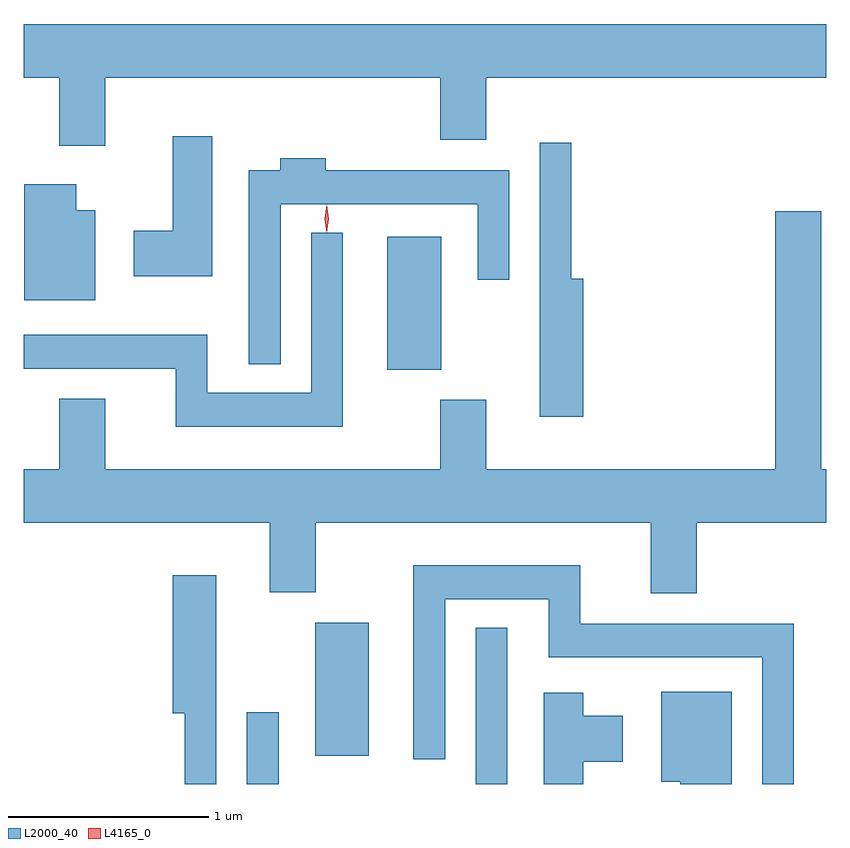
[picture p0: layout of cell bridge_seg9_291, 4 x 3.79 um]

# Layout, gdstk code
import gdstk
lib = gdstk.Library(unit=1e-6, precision=1e-09)
def R(c, l, rs):  # rectangles x0, y0, x1, y1
    for r in rs: c.add(gdstk.rectangle(r[:2], r[2:], *l))
def P(c, l, *ps):  # polygons
    for p in ps: c.add(gdstk.Polygon(p, *l))
L2000_40 = (2000, 40)
L4165_0 = (4165, 0)

bridge_seg9_291 = lib.new_cell('bridge_seg9_291')
R(bridge_seg9_291, L2000_40, [(1017.826,2072.654,1017.984,2073.012), (1018.966,2072.654,1019.124,2073.433), (1018.166,2072.796,1018.434,2073.459), (1018.526,2074.721,1018.794,2075.384)])
P(bridge_seg9_291, L2000_40, [(1017.119,2076.176),(1018.791,2076.176),(1018.791,2075.866),(1019.019,2075.866),(1019.019,2076.176),(1020.714,2076.176),(1020.714,2076.444),(1016.714,2076.444),(1016.714,2076.176),(1016.891,2076.176),(1016.891,2075.836),(1017.119,2075.836)],
  [(1017.654,2075.884),(1017.456,2075.884),(1017.456,2075.414),(1017.261,2075.414),(1017.261,2075.186),(1017.654,2075.186)],
  [(1019.504,2075.174),(1019.444,2075.174),(1019.444,2075.853),(1019.286,2075.853),(1019.286,2074.486),(1019.504,2074.486)],
  [(1017.994,2075.546),(1018.976,2075.546),(1018.976,2075.168),(1019.134,2075.168),(1019.134,2075.714),(1018.219,2075.714),(1018.219,2075.774),(1017.991,2075.774),(1017.991,2075.714),(1017.836,2075.714),(1017.836,2074.748),(1017.994,2074.748)],
  [(1017.069,2075.514),(1016.974,2075.514),(1016.974,2075.644),(1016.716,2075.644),(1016.716,2075.066),(1017.069,2075.066)],
  [(1020.069,2073.956),(1020.714,2073.956),(1020.714,2074.224),(1020.689,2074.224),(1020.689,2075.509),(1020.461,2075.509),(1020.461,2074.224),(1019.019,2074.224),(1019.019,2074.569),(1018.791,2074.569),(1018.791,2074.224),(1017.119,2074.224),(1017.119,2074.574),(1016.891,2074.574),(1016.891,2074.224),(1016.714,2074.224),(1016.714,2073.956),(1017.941,2073.956),(1017.941,2073.611),(1018.169,2073.611),(1018.169,2073.956),(1019.841,2073.956),(1019.841,2073.606),(1020.069,2073.606)],
  [(1018.304,2075.403),(1018.146,2075.403),(1018.146,2074.604),(1017.629,2074.604),(1017.629,2074.894),(1016.714,2074.894),(1016.714,2074.726),(1017.471,2074.726),(1017.471,2074.436),(1018.304,2074.436)],
  [(1020.554,2073.454),(1019.489,2073.454),(1019.489,2073.744),(1018.656,2073.744),(1018.656,2072.778),(1018.814,2072.778),(1018.814,2073.576),(1019.331,2073.576),(1019.331,2073.286),(1020.396,2073.286),(1020.396,2072.654),(1020.554,2072.654)],
  [(1017.674,2073.694),(1017.456,2073.694),(1017.456,2073.006),(1017.516,2073.006),(1017.516,2072.654),(1017.674,2072.654)],
  [(1020.244,2073.114),(1019.891,2073.114),(1019.891,2072.666),(1019.986,2072.666),(1019.986,2072.654),(1020.244,2072.654)],
  [(1019.504,2072.766),(1019.699,2072.766),(1019.699,2072.994),(1019.504,2072.994),(1019.504,2073.109),(1019.306,2073.109),(1019.306,2072.654),(1019.504,2072.654)])
P(bridge_seg9_291, L4165_0, [(1018.224,2075.404),(1018.215,2075.473),(1018.224,2075.543),(1018.225,2075.543),(1018.225,2075.543),(1018.235,2075.473),(1018.225,2075.404),(1018.225,2075.404)],
  [(1018.224,2075.407),(1018.223,2075.408),(1018.214,2075.474),(1018.223,2075.54),(1018.224,2075.541),(1018.224,2075.54),(1018.234,2075.474),(1018.224,2075.408)])

lib.write_gds('bridge_seg9_291.gds')
